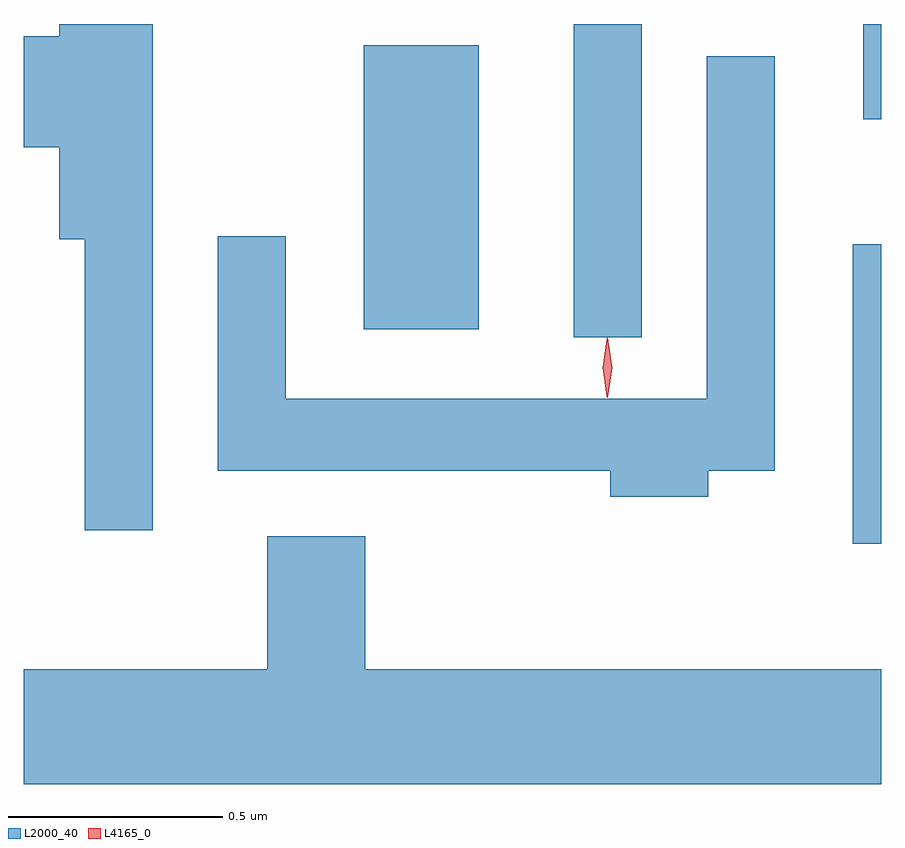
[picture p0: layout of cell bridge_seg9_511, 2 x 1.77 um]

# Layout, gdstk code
import gdstk
lib = gdstk.Library(unit=1e-6, precision=1e-09)
def R(c, l, rs):  # rectangles x0, y0, x1, y1
    for r in rs: c.add(gdstk.rectangle(r[:2], r[2:], *l))
def P(c, l, *ps):  # polygons
    for p in ps: c.add(gdstk.Polygon(p, *l))
L2000_40 = (2000, 40)
L4165_0 = (4165, 0)

bridge_seg9_511 = lib.new_cell('bridge_seg9_511')
R(bridge_seg9_511, L2000_40, [(559.396,1970.176,559.463,1970.874), (558.746,1970.658,558.904,1971.388), (558.256,1970.676,558.524,1971.339), (559.421,1971.166,559.463,1971.388)])
P(bridge_seg9_511, L2000_40, [(557.764,1971.388),(557.546,1971.388),(557.546,1971.359),(557.463,1971.359),(557.463,1971.101),(557.546,1971.101),(557.546,1970.886),(557.606,1970.886),(557.606,1970.208),(557.764,1970.208)],
  [(559.059,1970.346),(559.214,1970.346),(559.214,1971.313),(559.056,1971.313),(559.056,1970.514),(558.074,1970.514),(558.074,1970.893),(557.916,1970.893),(557.916,1970.346),(558.831,1970.346),(558.831,1970.286),(559.059,1970.286)],
  [(559.463,1969.884),(558.259,1969.884),(558.259,1970.194),(558.031,1970.194),(558.031,1969.884),(557.463,1969.884),(557.463,1969.616),(559.463,1969.616)])
P(bridge_seg9_511, L4165_0, [(558.825,1970.517),(558.824,1970.518),(558.815,1970.586),(558.824,1970.656),(558.825,1970.656),(558.825,1970.656),(558.835,1970.586),(558.825,1970.518)],
  [(558.823,1970.519),(558.823,1970.52),(558.813,1970.586),(558.823,1970.652),(558.823,1970.653),(558.824,1970.652),(558.833,1970.586),(558.824,1970.52)])

lib.write_gds('bridge_seg9_511.gds')
